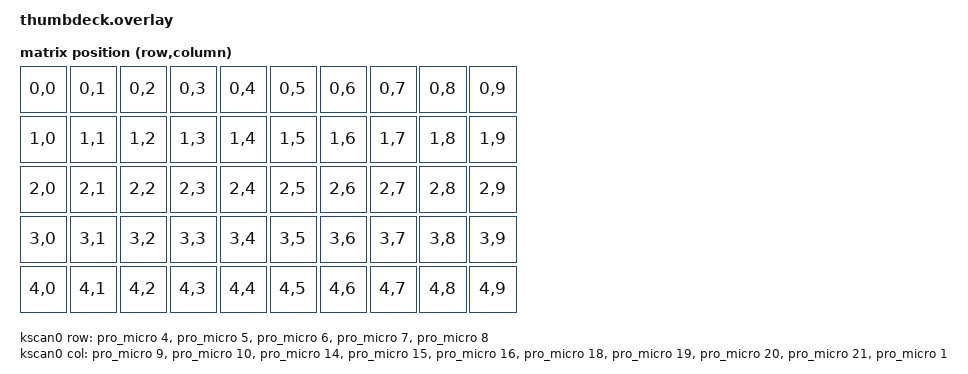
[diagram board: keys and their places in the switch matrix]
/*
 * thumbdeck.overlay — single-controller (non-split) 5x10 thumb keyboard (v0.3).
 *
 * One nRF52840 (nice!nano v2) in the RIGHT grip scans all 50 keys as a single
 * 5 row x 10 column matrix. Logical columns 0..4 = RIGHT grip (local wiring),
 * columns 5..9 = LEFT grip, reached over the bridge cable. No split, no second
 * controller, no col-offset.
 *
 * Bridge cable = 10 conductors: 5 shared rows (pro_micro 4,5,6,7,8) + the LEFT
 * grip's 5 columns (pro_micro 18,19,20,21,1). RIGHT columns (9,10,14,15,16) are
 * local. Pins use the &pro_micro nexus so this is board-portable; 15 of the
 * nice!nano's ~18 usable GPIO, leaving 0/2/3 free (2/3 = I2C for the optional
 * MCP23017 bridge-expander variant). See docs/matrix-and-diodes.md.
 */

#include <dt-bindings/zmk/matrix_transform.h>

/ {
	chosen {
		zmk,kscan = &kscan0;
		zmk,matrix_transform = &default_transform;
	};

	default_transform: keymap_transform_0 {
		compatible = "zmk,matrix-transform";
		columns = <10>;
		rows = <5>;
		map = <
			RC(0,0) RC(0,1) RC(0,2) RC(0,3) RC(0,4)   RC(0,5) RC(0,6) RC(0,7) RC(0,8) RC(0,9)
			RC(1,0) RC(1,1) RC(1,2) RC(1,3) RC(1,4)   RC(1,5) RC(1,6) RC(1,7) RC(1,8) RC(1,9)
			RC(2,0) RC(2,1) RC(2,2) RC(2,3) RC(2,4)   RC(2,5) RC(2,6) RC(2,7) RC(2,8) RC(2,9)
			RC(3,0) RC(3,1) RC(3,2) RC(3,3) RC(3,4)   RC(3,5) RC(3,6) RC(3,7) RC(3,8) RC(3,9)
			RC(4,0) RC(4,1) RC(4,2) RC(4,3) RC(4,4)   RC(4,5) RC(4,6) RC(4,7) RC(4,8) RC(4,9)
		>;
	};

	kscan0: kscan {
		compatible = "zmk,kscan-gpio-matrix";
		diode-direction = "col2row";

		/* Debounce raised for the long bridge cable (EE review #2): rejects
		 * cable-capacitance / crosstalk chatter. Pair with external row
		 * pull-downs + column series resistors + shielded flex (see BOM). */
		debounce-press-ms = <8>;
		debounce-release-ms = <8>;

		/* rows: read, shared across both grips (5 wires over the bridge) */
		row-gpios
			= <&pro_micro 4 (GPIO_ACTIVE_HIGH | GPIO_PULL_DOWN)>
			, <&pro_micro 5 (GPIO_ACTIVE_HIGH | GPIO_PULL_DOWN)>
			, <&pro_micro 6 (GPIO_ACTIVE_HIGH | GPIO_PULL_DOWN)>
			, <&pro_micro 7 (GPIO_ACTIVE_HIGH | GPIO_PULL_DOWN)>
			, <&pro_micro 8 (GPIO_ACTIVE_HIGH | GPIO_PULL_DOWN)>
			;

		/* cols: driven. 0..4 RIGHT grip (local); 5..9 LEFT grip (over bridge) */
		col-gpios
			= <&pro_micro  9 GPIO_ACTIVE_HIGH>   /* c0 R */
			, <&pro_micro 10 GPIO_ACTIVE_HIGH>   /* c1 R */
			, <&pro_micro 14 GPIO_ACTIVE_HIGH>   /* c2 R */
			, <&pro_micro 15 GPIO_ACTIVE_HIGH>   /* c3 R */
			, <&pro_micro 16 GPIO_ACTIVE_HIGH>   /* c4 R */
			, <&pro_micro 18 GPIO_ACTIVE_HIGH>   /* c5 L (bridge) */
			, <&pro_micro 19 GPIO_ACTIVE_HIGH>   /* c6 L (bridge) */
			, <&pro_micro 20 GPIO_ACTIVE_HIGH>   /* c7 L (bridge) */
			, <&pro_micro 21 GPIO_ACTIVE_HIGH>   /* c8 L (bridge) */
			, <&pro_micro  1 GPIO_ACTIVE_HIGH>   /* c9 L (bridge) */
			;
	};
};
